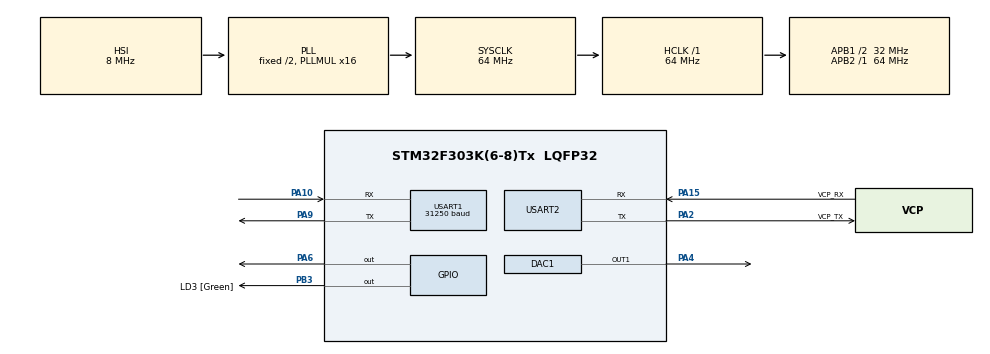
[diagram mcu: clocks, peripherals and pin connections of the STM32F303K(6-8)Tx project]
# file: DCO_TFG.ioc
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Mcu.Family=STM32F3
Mcu.Name=STM32F303K(6-8)Tx
Mcu.Package=LQFP32
NVIC.PriorityGroup=NVIC_PRIORITYGROUP_4
NVIC.TIM2_IRQn=true\:0\:0\:false\:false\:true\:true
NVIC.USART1_IRQn=true\:0\:0\:false\:false\:true\:true
PA10.Mode=Asynchronous
PA10.Signal=USART1_RX
PA13.GPIO_Label=SWDIO
PA13.Mode=Serial_Wire
PA13.Signal=SYS_JTMS-SWDIO
PA14.GPIO_Label=SWCLK
PA14.Mode=Serial_Wire
PA14.Signal=SYS_JTCK-SWCLK
PA15.GPIO_Label=VCP_RX
PA15.Mode=Asynchronous
PA15.Signal=USART2_RX
PA2.GPIO_Label=VCP_TX
PA2.Mode=Asynchronous
PA2.Signal=USART2_TX
PA4.Signal=COMP_DAC11_group
PA6.Signal=GPIO_Output
PA9.Mode=Asynchronous
PA9.Signal=USART1_TX
PB3.GPIO_Label=LD3 [Green]
PB3.Signal=GPIO_Output
PF0\ /\ OSC_IN.GPIO_Label=MCO
PF0\ /\ OSC_IN.Mode=HSE-External-Clock-Source
PF0\ /\ OSC_IN.Signal=RCC_OSC_IN
ProjectManager.HeapSize=0x200
ProjectManager.StackSize=0x400
ProjectManager.TargetToolchain=TrueSTUDIO
RCC.AHBFreq_Value=64000000
RCC.APB1CLKDivider=RCC_HCLK_DIV2
RCC.APB1Freq_Value=32000000
RCC.APB1TimFreq_Value=64000000
RCC.APB2Freq_Value=64000000
RCC.APB2TimFreq_Value=64000000
RCC.CortexFreq_Value=64000000
RCC.HCLKFreq_Value=64000000
RCC.HSE_VALUE=8000000
RCC.HSI_VALUE=8000000
RCC.PLLMUL=RCC_PLL_MUL16
RCC.SYSCLKFreq_VALUE=64000000
RCC.SYSCLKSourceVirtual=RCC_SYSCLKSOURCE_PLLCLK
SH.COMP_DAC11_group.0=DAC1_OUT1,DAC_OUT1
TIM2.Period=23273
TIM2.Prescaler=1
USART1.BaudRate=31250
USART1.Mode=MODE_RX
USART1.VirtualMode-Asynchronous=VM_ASYNC
USART2.VirtualMode-Asynchronous=VM_ASYNC
VP_TIM2_VS_ClockSourceINT.Mode=Internal
board=NUCLEO-F303K8

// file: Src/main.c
/* USER CODE BEGIN Header */
/**
  ******************************************************************************
  * @file           : main.c
  * @brief          : Main program body
  ******************************************************************************
  ** This notice applies to any and all portions of this file
  * that are not between comment pairs USER CODE BEGIN and
  * USER CODE END. Other portions of this file, whether
  * inserted by the user or by software development tools
  * are owned by their respective copyright owners.
  *
  * COPYRIGHT(c) 2019 STMicroelectronics
  *
  * Redistribution and use in source and binary forms, with or without modification,
  * are permitted provided that the following conditions are met:
  *   1. Redistributions of source code must retain the above copyright notice,
  *      this list of conditions and the following disclaimer.
  *   2. Redistributions in binary form must reproduce the above copyright notice,
  *      this list of conditions and the following disclaimer in the documentation
  *      and/or other materials provided with the distribution.
  *   3. Neither the name of STMicroelectronics nor the names of its contributors
  *      may be used to endorse or promote products derived from this software
  *      without specific prior written permission.
  *
  * THIS SOFTWARE IS PROVIDED BY THE COPYRIGHT HOLDERS AND CONTRIBUTORS "AS IS"
  * AND ANY EXPRESS OR IMPLIED WARRANTIES, INCLUDING, BUT NOT LIMITED TO, THE
  * IMPLIED WARRANTIES OF MERCHANTABILITY AND FITNESS FOR A PARTICULAR PURPOSE ARE
  * DISCLAIMED. IN NO EVENT SHALL THE COPYRIGHT HOLDER OR CONTRIBUTORS BE LIABLE
  * FOR ANY DIRECT, INDIRECT, INCIDENTAL, SPECIAL, EXEMPLARY, OR CONSEQUENTIAL
  * DAMAGES (INCLUDING, BUT NOT LIMITED TO, PROCUREMENT OF SUBSTITUTE GOODS OR
  * SERVICES; LOSS OF USE, DATA, OR PROFITS; OR BUSINESS INTERRUPTION) HOWEVER
  * CAUSED AND ON ANY THEORY OF LIABILITY, WHETHER IN CONTRACT, STRICT LIABILITY,
  * OR TORT (INCLUDING NEGLIGENCE OR OTHERWISE) ARISING IN ANY WAY OUT OF THE USE
  * OF THIS SOFTWARE, EVEN IF ADVISED OF THE POSSIBILITY OF SUCH DAMAGE.
  *
  ******************************************************************************
  */
/* USER CODE END Header */

#include "main.h"

/* USER CODE BEGIN Includes */
#include "math.h"
/* USER CODE END Includes */

/* USER CODE BEGIN PD */
#define N_MUESTRAS 50
#define F_CLK 64000000
/* USER CODE END PD */

DAC_HandleTypeDef hdac1;

TIM_HandleTypeDef htim2;

UART_HandleTypeDef huart1;
UART_HandleTypeDef huart2;

/* USER CODE BEGIN PV */
uint8_t mensaje_MIDI[3];
static uint16_t signal[N_MUESTRAS];
static uint8_t indice = 0;
/* USER CODE END PV */

void SystemClock_Config(void);
static void MX_GPIO_Init(void);
static void MX_USART2_UART_Init(void);
static void MX_TIM2_Init(void);
static void MX_DAC1_Init(void);
static void MX_USART1_UART_Init(void);

int main(void)
{

  /* MCU Configuration--------------------------------------------------------*/

  /* Reset of all peripherals, Initializes the Flash interface and the Systick. */
  HAL_Init();

  /* Configure the system clock */
  SystemClock_Config();

  /* Initialize all configured peripherals */
  MX_GPIO_Init();
  MX_USART2_UART_Init();
  MX_TIM2_Init();
  MX_DAC1_Init();
  MX_USART1_UART_Init();
  /* USER CODE BEGIN 2 */
  __HAL_UART_ENABLE_IT(&huart1, UART_IT_RXNE);

  calculo_signal(50);

  for(uint8_t  i=50; i<80;i++) {
	  start_nota(i);
	  HAL_Delay(1000);
//	  stop_nota();
}
  /* USER CODE END 2 */

  /* Infinite loop */
  while (1)
  {

  }
}

void SystemClock_Config(void)
{
  RCC_OscInitTypeDef RCC_OscInitStruct = {0};
  RCC_ClkInitTypeDef RCC_ClkInitStruct = {0};
  RCC_PeriphCLKInitTypeDef PeriphClkInit = {0};

  /**Initializes the CPU, AHB and APB busses clocks
  */
  RCC_OscInitStruct.OscillatorType = RCC_OSCILLATORTYPE_HSI;
  RCC_OscInitStruct.HSIState = RCC_HSI_ON;
  RCC_OscInitStruct.HSICalibrationValue = RCC_HSICALIBRATION_DEFAULT;
  RCC_OscInitStruct.PLL.PLLState = RCC_PLL_ON;
  RCC_OscInitStruct.PLL.PLLSource = RCC_PLLSOURCE_HSI;
  RCC_OscInitStruct.PLL.PLLMUL = RCC_PLL_MUL16;
  if (HAL_RCC_OscConfig(&RCC_OscInitStruct) != HAL_OK)
  {
    Error_Handler();
  }
  /**Initializes the CPU, AHB and APB busses clocks
  */
  RCC_ClkInitStruct.ClockType = RCC_CLOCKTYPE_HCLK|RCC_CLOCKTYPE_SYSCLK
                              |RCC_CLOCKTYPE_PCLK1|RCC_CLOCKTYPE_PCLK2;
  RCC_ClkInitStruct.SYSCLKSource = RCC_SYSCLKSOURCE_PLLCLK;
  RCC_ClkInitStruct.AHBCLKDivider = RCC_SYSCLK_DIV1;
  RCC_ClkInitStruct.APB1CLKDivider = RCC_HCLK_DIV2;
  RCC_ClkInitStruct.APB2CLKDivider = RCC_HCLK_DIV1;

  if (HAL_RCC_ClockConfig(&RCC_ClkInitStruct, FLASH_LATENCY_2) != HAL_OK)
  {
    Error_Handler();
  }
  PeriphClkInit.PeriphClockSelection = RCC_PERIPHCLK_USART1;
  PeriphClkInit.Usart1ClockSelection = RCC_USART1CLKSOURCE_PCLK1;
  if (HAL_RCCEx_PeriphCLKConfig(&PeriphClkInit) != HAL_OK)
  {
    Error_Handler();
  }
}

static void MX_DAC1_Init(void)
{

  DAC_ChannelConfTypeDef sConfig = {0};

  /**DAC Initialization
  */
  hdac1.Instance = DAC1;
  if (HAL_DAC_Init(&hdac1) != HAL_OK)
  {
    Error_Handler();
  }
  /**DAC channel OUT1 config
  */
  sConfig.DAC_Trigger = DAC_TRIGGER_NONE;
  sConfig.DAC_OutputBuffer = DAC_OUTPUTBUFFER_ENABLE;
  if (HAL_DAC_ConfigChannel(&hdac1, &sConfig, DAC_CHANNEL_1) != HAL_OK)
  {
    Error_Handler();
  }

}

static void MX_TIM2_Init(void)
{

  TIM_ClockConfigTypeDef sClockSourceConfig = {0};
  TIM_MasterConfigTypeDef sMasterConfig = {0};

  htim2.Instance = TIM2;
  htim2.Init.Prescaler = 1;
  htim2.Init.CounterMode = TIM_COUNTERMODE_UP;
  htim2.Init.Period = 23273;
  htim2.Init.ClockDivision = TIM_CLOCKDIVISION_DIV1;
  htim2.Init.AutoReloadPreload = TIM_AUTORELOAD_PRELOAD_DISABLE;
  if (HAL_TIM_Base_Init(&htim2) != HAL_OK)
  {
    Error_Handler();
  }
  sClockSourceConfig.ClockSource = TIM_CLOCKSOURCE_INTERNAL;
  if (HAL_TIM_ConfigClockSource(&htim2, &sClockSourceConfig) != HAL_OK)
  {
    Error_Handler();
  }
  sMasterConfig.MasterOutputTrigger = TIM_TRGO_RESET;
  sMasterConfig.MasterSlaveMode = TIM_MASTERSLAVEMODE_DISABLE;
  if (HAL_TIMEx_MasterConfigSynchronization(&htim2, &sMasterConfig) != HAL_OK)
  {
    Error_Handler();
  }

}

static void MX_USART1_UART_Init(void)
{

  huart1.Instance = USART1;
  huart1.Init.BaudRate = 31250;
  huart1.Init.WordLength = UART_WORDLENGTH_8B;
  huart1.Init.StopBits = UART_STOPBITS_1;
  huart1.Init.Parity = UART_PARITY_NONE;
  huart1.Init.Mode = UART_MODE_RX;
  huart1.Init.HwFlowCtl = UART_HWCONTROL_NONE;
  huart1.Init.OverSampling = UART_OVERSAMPLING_16;
  huart1.Init.OneBitSampling = UART_ONE_BIT_SAMPLE_DISABLE;
  huart1.AdvancedInit.AdvFeatureInit = UART_ADVFEATURE_NO_INIT;
  if (HAL_UART_Init(&huart1) != HAL_OK)
  {
    Error_Handler();
  }

}

static void MX_USART2_UART_Init(void)
{

  huart2.Instance = USART2;
  huart2.Init.BaudRate = 38400;
  huart2.Init.WordLength = UART_WORDLENGTH_8B;
  huart2.Init.StopBits = UART_STOPBITS_1;
  huart2.Init.Parity = UART_PARITY_NONE;
  huart2.Init.Mode = UART_MODE_TX_RX;
  huart2.Init.HwFlowCtl = UART_HWCONTROL_NONE;
  huart2.Init.OverSampling = UART_OVERSAMPLING_16;
  huart2.Init.OneBitSampling = UART_ONE_BIT_SAMPLE_DISABLE;
  huart2.AdvancedInit.AdvFeatureInit = UART_ADVFEATURE_NO_INIT;
  if (HAL_UART_Init(&huart2) != HAL_OK)
  {
    Error_Handler();
  }

}

static void MX_GPIO_Init(void)
{
  GPIO_InitTypeDef GPIO_InitStruct = {0};

  /* GPIO Ports Clock Enable */
  __HAL_RCC_GPIOF_CLK_ENABLE();
  __HAL_RCC_GPIOA_CLK_ENABLE();
  __HAL_RCC_GPIOB_CLK_ENABLE();

  /*Configure GPIO pin Output Level */
  HAL_GPIO_WritePin(GPIOA, GPIO_PIN_6, GPIO_PIN_RESET);

  /*Configure GPIO pin Output Level */
  HAL_GPIO_WritePin(LD3_GPIO_Port, LD3_Pin, GPIO_PIN_RESET);

  /*Configure GPIO pin : PA6 */
  GPIO_InitStruct.Pin = GPIO_PIN_6;
  GPIO_InitStruct.Mode = GPIO_MODE_OUTPUT_PP;
  GPIO_InitStruct.Pull = GPIO_NOPULL;
  GPIO_InitStruct.Speed = GPIO_SPEED_FREQ_LOW;
  HAL_GPIO_Init(GPIOA, &GPIO_InitStruct);

  /*Configure GPIO pin : LD3_Pin */
  GPIO_InitStruct.Pin = LD3_Pin;
  GPIO_InitStruct.Mode = GPIO_MODE_OUTPUT_PP;
  GPIO_InitStruct.Pull = GPIO_NOPULL;
  GPIO_InitStruct.Speed = GPIO_SPEED_FREQ_LOW;
  HAL_GPIO_Init(LD3_GPIO_Port, &GPIO_InitStruct);

}

/* USER CODE BEGIN 4 */
void HAL_UART_RxCpltCallback(UART_HandleTypeDef *huart) {

	//HAL_UART_Transmit(&huart2, uno, sizeof(uno), 10);
	for(uint8_t i=0;i<sizeof(mensaje_MIDI);i++){
		tx_byte(&huart2, mensaje_MIDI[i], 10);
	}
	if ((mensaje_MIDI[0]>>4) == 0b1001){
		uint8_t nota = mensaje_MIDI[1]-20;
		start_nota(nota);
	}
	else {
		stop_nota();
	}
	__HAL_UART_ENABLE_IT(&huart1, UART_IT_RXNE);

}

void tx_byte(UART_HandleTypeDef *huart, uint8_t data, uint32_t Timeout){

	uint8_t byte[8];
	for(uint8_t i=0;i<8;i++){
		if((data>>(7-i) & 0x01)==1){
			byte[i]=0x31;
		}
		if((data>>(7-i) & 0x01)==0){
			byte[i]=0x30;
		}
	}
HAL_UART_Transmit(huart, byte, sizeof(byte), 10);

uint8_t salto[] = "\r\n";
HAL_UART_Transmit(huart, salto, 2, 10);
}

void dac_signal(void) {

	HAL_GPIO_TogglePin(GPIOA, GPIO_PIN_6);
	uint16_t data;

	data=signal[indice];

	HAL_DAC_SetValue(&hdac1, DAC_CHANNEL_1, DAC_ALIGN_12B_R, data);
	indice++;
	if (indice >= N_MUESTRAS) {
		indice = 0;
	}
}

void calculo_signal(uint8_t duty_cycle){
	for (uint8_t i=0; i<N_MUESTRAS;i++){
		if (i<duty_cycle*N_MUESTRAS/100) {
			signal[i] =  4095;
		}
		else {
			signal[i] = 0;
		}
	}
}

void set_timer_DAC(uint8_t PS, uint16_t T){
	__HAL_TIM_SET_PRESCALER(&htim2, PS-1);
	__HAL_TIM_SET_AUTORELOAD(&htim2, T-1);
	HAL_TIM_Base_Start_IT(&htim2);
}

void start_nota(uint8_t nota){
	float f_nota = 27.50 * pow(1.059463094, nota-1);

	uint16_t t_timer = round(F_CLK/2/(N_MUESTRAS*f_nota));

	set_timer_DAC(2, t_timer);
	HAL_DAC_Start(&hdac1, DAC_CHANNEL_1);

}

void stop_nota(void){
	HAL_DAC_Stop(&hdac1, DAC_CHANNEL_1);
	HAL_TIM_Base_Stop_IT(&htim2);
}

/* USER CODE END 4 */

void Error_Handler(void)
{
}

/************************ (C) COPYRIGHT STMicroelectronics *****END OF FILE****/
